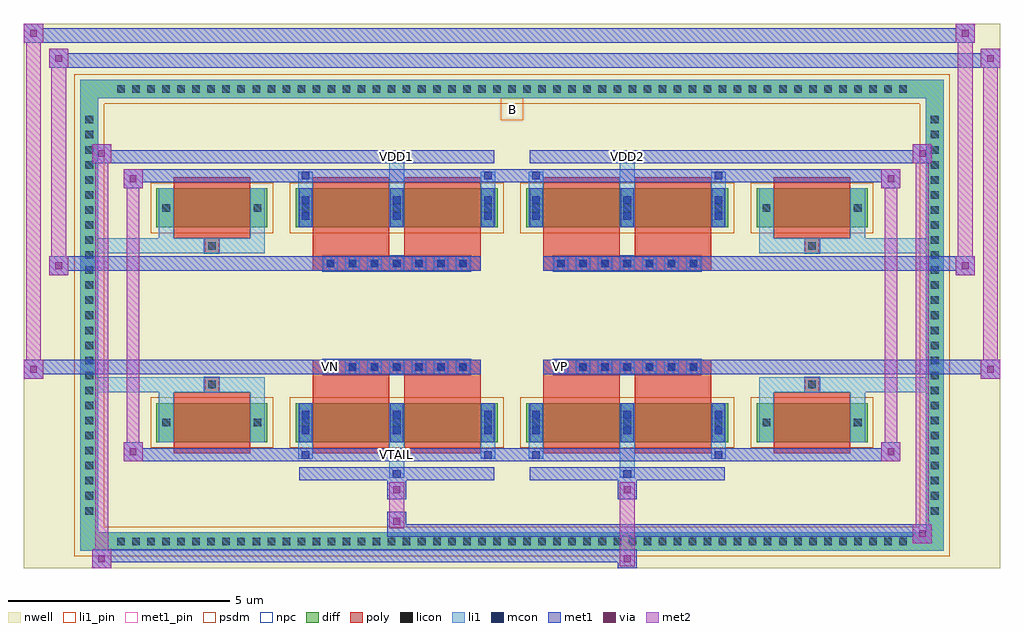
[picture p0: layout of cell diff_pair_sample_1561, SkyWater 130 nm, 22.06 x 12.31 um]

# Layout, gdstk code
import gdstk
lib = gdstk.Library(unit=1e-6, precision=5e-09)
def R(c, l, rs):  # rectangles x0, y0, x1, y1
    for r in rs: c.add(gdstk.rectangle(r[:2], r[2:], *l))
def A(c, l, x, y, w, h, nx, ny, dx, dy):  # array of equal rectangles
    R(c, l, [(x+i*dx, y+j*dy, x+i*dx+w, y+j*dy+h) for i in range(nx) for j in range(ny)])
def P(c, l, *ps):  # polygons
    for p in ps: c.add(gdstk.Polygon(p, *l))
nwell = (64, 20)
diff = (65, 20)
poly = (66, 20)
licon = (66, 44)
li1_pin = (67, 16)
li1 = (67, 20)
mcon = (67, 44)
met1_pin = (68, 16)
met1 = (68, 20)
via = (68, 44)
met2 = (69, 20)
psdm = (94, 20)
npc = (95, 20)

diff_pair_sample_1561 = lib.new_cell('diff_pair_sample_1561')
R(diff_pair_sample_1561, nwell, [(-11.03,-5.72,11.03,6.59), (-8.35,-3.91,-0.01,-0.805), (0.01,-3.91,8.35,-0.805), (-8.35,0.805,-0.01,3.91), (0.01,0.805,8.35,3.91)])
A(diff_pair_sample_1561, diff, -9.045, -5.32, 0.41, 0.41, 53, 2, 0.34, 10.23)
A(diff_pair_sample_1561, diff, -9.76, -4.625, 0.41, 0.41, 1, 27, 0, 0.34)
A(diff_pair_sample_1561, diff, 9.35, -4.625, 0.41, 0.41, 1, 27, 0, 0.34)
R(diff_pair_sample_1561, diff, [(-9.045,-5.32,9.045,-4.91), (-9.76,-4.625,-9.35,4.625), (9.35,-4.625,9.76,4.625), (-8.04,-2.865,-5.53,-1.985), (-4.89,-2.865,-0.32,-1.985), (0.32,-2.865,4.89,-1.985), (5.53,-2.865,8.04,-1.985), (-8.04,1.985,-5.53,2.865), (-4.89,1.985,-0.32,2.865), (0.32,1.985,4.89,2.865), (5.53,1.985,8.04,2.865), (-9.045,4.91,9.045,5.32)])
P(diff_pair_sample_1561, diff, [(9.76,5.32),(-9.76,5.32),(-9.76,-4.91),(-9.35,-4.91),(-9.35,4.91),(9.35,4.91),(9.35,-4.91),(-9.35,-4.91),(-9.76,-4.91),(-9.76,-5.32),(9.76,-5.32)])
A(diff_pair_sample_1561, poly, -4.27, -1.335, 0.33, 0.33, 7, 2, 0.5, 2.34)
A(diff_pair_sample_1561, poly, 0.94, -1.335, 0.33, 0.33, 7, 2, 0.5, 2.34)
R(diff_pair_sample_1561, poly, [(-7.65,-3.115,-5.92,-1.735), (-4.5,-3.115,-2.77,-1.735), (-2.44,-3.115,-0.71,-1.735), (0.71,-3.115,2.44,-1.735), (2.77,-3.115,4.5,-1.735), (5.92,-3.115,7.65,-1.735), (-6.95,-1.735,-6.62,-1.405), (-6.95,-1.735,-6.62,-1.405), (-4.5,-1.735,-2.77,-1.335), (-2.44,-1.735,-0.71,-1.335), (0.71,-1.735,2.44,-1.335), (2.77,-1.735,4.5,-1.335), (6.62,-1.735,6.95,-1.405), (6.62,-1.735,6.95,-1.405), (-4.5,-1.335,-0.71,-1.005), (0.71,-1.335,4.5,-1.005), (-4.5,1.005,-0.71,1.335), (0.71,1.005,4.5,1.335), (-4.5,1.335,-2.77,1.735), (-2.44,1.335,-0.71,1.735), (0.71,1.335,2.44,1.735), (2.77,1.335,4.5,1.735), (-6.95,1.405,-6.62,1.735), (-6.95,1.405,-6.62,1.735), (6.62,1.405,6.95,1.735), (6.62,1.405,6.95,1.735), (-7.65,1.735,-5.92,3.115), (-4.5,1.735,-2.77,3.115), (-2.44,1.735,-0.71,3.115), (0.71,1.735,2.44,3.115), (2.77,1.735,4.5,3.115), (5.92,1.735,7.65,3.115)])
A(diff_pair_sample_1561, licon, -8.925, -5.2, 0.17, 0.17, 53, 2, 0.34, 10.23)
A(diff_pair_sample_1561, licon, -9.64, -4.505, 0.17, 0.17, 1, 27, 0, 0.34)
A(diff_pair_sample_1561, licon, 9.47, -4.505, 0.17, 0.17, 1, 27, 0, 0.34)
A(diff_pair_sample_1561, licon, -4.75, -2.51, 0.17, 0.17, 3, 2, 2.06, 4.85)
A(diff_pair_sample_1561, licon, 0.46, -2.51, 0.17, 0.17, 3, 2, 2.06, 4.85)
A(diff_pair_sample_1561, licon, -4.19, -1.255, 0.17, 0.17, 7, 2, 0.5, 2.34)
A(diff_pair_sample_1561, licon, 1.02, -1.255, 0.17, 0.17, 7, 2, 0.5, 2.34)
R(diff_pair_sample_1561, licon, [(-7.9,-2.51,-7.73,-2.34), (-5.84,-2.51,-5.67,-2.34), (5.67,-2.51,5.84,-2.34), (7.73,-2.51,7.9,-2.34), (-6.87,-1.655,-6.7,-1.485), (6.7,-1.655,6.87,-1.485), (-6.87,1.485,-6.7,1.655), (6.7,1.485,6.87,1.655), (-7.9,2.34,-7.73,2.51), (-5.84,2.34,-5.67,2.51), (5.67,2.34,5.84,2.51), (7.73,2.34,7.9,2.51)])
R(diff_pair_sample_1561, li1_pin, [(-0.25,4.41,0.25,4.91)])
A(diff_pair_sample_1561, li1, -9.005, -5.28, 0.33, 0.33, 53, 2, 0.34, 10.23)
A(diff_pair_sample_1561, li1, -9.72, -4.585, 0.33, 0.33, 1, 27, 0, 0.34)
A(diff_pair_sample_1561, li1, 9.39, -4.585, 0.33, 0.33, 1, 27, 0, 0.34)
A(diff_pair_sample_1561, li1, -4.83, -2.865, 0.33, 0.88, 3, 2, 2.06, 4.85)
A(diff_pair_sample_1561, li1, 0.38, -2.865, 0.33, 0.88, 3, 2, 2.06, 4.85)
A(diff_pair_sample_1561, li1, -4.75, -2.69, 0.17, 0.17, 3, 2, 2.06, 0.36)
A(diff_pair_sample_1561, li1, -4.75, -2.69, 0.17, 0.53, 3, 2, 2.06, 4.85)
A(diff_pair_sample_1561, li1, 0.46, -2.69, 0.17, 0.17, 3, 2, 2.06, 0.36)
A(diff_pair_sample_1561, li1, 0.46, -2.69, 0.17, 0.53, 3, 2, 2.06, 4.85)
A(diff_pair_sample_1561, li1, -4.83, -2.59, 0.33, 0.33, 3, 2, 2.06, 4.85)
A(diff_pair_sample_1561, li1, 0.38, -2.59, 0.33, 0.33, 3, 2, 2.06, 4.85)
A(diff_pair_sample_1561, li1, -4.27, -1.335, 0.33, 0.33, 7, 2, 0.5, 2.34)
A(diff_pair_sample_1561, li1, 0.94, -1.335, 0.33, 0.33, 7, 2, 0.5, 2.34)
A(diff_pair_sample_1561, li1, -4.75, 2.16, 0.17, 0.17, 3, 2, 2.06, 0.36)
A(diff_pair_sample_1561, li1, 0.46, 2.16, 0.17, 0.17, 3, 2, 2.06, 0.36)
R(diff_pair_sample_1561, li1, [(-9.76,-5.32,-9.35,-4.91), (-9.76,-5.32,-9.35,-4.91), (-9.35,-5.32,9.35,-4.91), (9.35,-5.32,9.76,-4.91), (9.35,-5.32,9.76,-4.91), (-9.76,-4.91,-9.35,4.91), (9.35,-4.91,9.76,4.91), (-2.77,-3.67,-2.44,-2.865), (-2.69,-3.67,-2.52,-3.5), (2.44,-3.67,2.77,-2.865), (2.52,-3.67,2.69,-3.5), (-4.83,-3.24,-4.5,-2.865), (-4.75,-3.24,-4.58,-3.07), (-0.71,-3.24,-0.38,-2.865), (-0.63,-3.24,-0.46,-3.07), (0.38,-3.24,0.71,-2.865), (0.46,-3.24,0.63,-3.07), (4.5,-3.24,4.83,-2.865), (4.58,-3.24,4.75,-3.07), (-7.98,-2.865,-7.65,-1.985), (-5.92,-2.865,-5.59,-1.985), (5.59,-2.865,5.92,-1.985), (7.65,-2.865,7.98,-1.985), (-7.98,-2.59,-7.65,-2.26), (-5.92,-2.59,-5.59,-2.26), (5.59,-2.59,5.92,-2.26), (7.65,-2.59,7.98,-2.26), (-7.98,-1.985,-7.65,-1.405), (-5.92,-1.985,-5.59,-1.405), (5.59,-1.985,5.92,-1.405), (7.65,-1.985,7.98,-1.405), (-9.76,-1.735,-6.95,-1.405), (-7.98,-1.735,-6.95,-1.405), (-6.95,-1.735,-6.62,-1.405), (-6.62,-1.735,-5.59,-1.405), (5.59,-1.735,6.62,-1.405), (6.62,-1.735,6.95,-1.405), (6.62,-1.735,9.76,-1.405), (6.95,-1.735,7.98,-1.405), (-9.76,1.405,-6.95,1.735), (-7.98,1.405,-6.95,1.735), (-7.98,1.405,-7.65,1.985), (-6.95,1.405,-6.62,1.735), (-6.62,1.405,-5.59,1.735), (-5.92,1.405,-5.59,1.985), (5.59,1.405,6.62,1.735), (5.59,1.405,5.92,1.985), (6.62,1.405,6.95,1.735), (6.62,1.405,9.76,1.735), (6.95,1.405,7.98,1.735), (7.65,1.405,7.98,1.985), (-7.98,1.985,-7.65,2.865), (-5.92,1.985,-5.59,2.865), (5.59,1.985,5.92,2.865), (7.65,1.985,7.98,2.865), (-7.98,2.26,-7.65,2.59), (-5.92,2.26,-5.59,2.59), (5.59,2.26,5.92,2.59), (7.65,2.26,7.98,2.59), (-4.83,2.865,-4.5,3.24), (-2.77,2.865,-2.44,3.67), (-0.71,2.865,-0.38,3.24), (0.38,2.865,0.71,3.24), (2.44,2.865,2.77,3.67), (4.5,2.865,4.83,3.24), (-4.75,3.07,-4.58,3.24), (-0.63,3.07,-0.46,3.24), (0.46,3.07,0.63,3.24), (4.58,3.07,4.75,3.24), (-2.69,3.5,-2.52,3.67), (2.52,3.5,2.69,3.67), (-9.76,4.91,-9.35,5.32), (-9.76,4.91,-9.35,5.32), (-9.35,4.91,9.35,5.32), (9.35,4.91,9.76,5.32), (9.35,4.91,9.76,5.32)])
A(diff_pair_sample_1561, mcon, -4.75, -2.69, 0.17, 0.17, 3, 2, 2.06, 0.36)
A(diff_pair_sample_1561, mcon, 0.46, -2.69, 0.17, 0.17, 3, 2, 2.06, 0.36)
A(diff_pair_sample_1561, mcon, -4.19, -1.255, 0.17, 0.17, 7, 2, 0.5, 2.34)
A(diff_pair_sample_1561, mcon, 1.02, -1.255, 0.17, 0.17, 7, 2, 0.5, 2.34)
A(diff_pair_sample_1561, mcon, -4.75, 2.16, 0.17, 0.17, 3, 2, 2.06, 0.36)
A(diff_pair_sample_1561, mcon, 0.46, 2.16, 0.17, 0.17, 3, 2, 2.06, 0.36)
R(diff_pair_sample_1561, mcon, [(-2.69,-3.67,-2.52,-3.5), (2.52,-3.67,2.69,-3.5), (-4.75,-3.24,-4.58,-3.07), (-0.63,-3.24,-0.46,-3.07), (0.46,-3.24,0.63,-3.07), (4.58,-3.24,4.75,-3.07), (-4.75,3.07,-4.58,3.24), (-0.63,3.07,-0.46,3.24), (0.46,3.07,0.63,3.24), (4.58,3.07,4.75,3.24), (-2.69,3.5,-2.52,3.67), (2.52,3.5,2.69,3.67)])
R(diff_pair_sample_1561, met1_pin, [(-2.74,-3.28,-2.47,-3.01), (-4.24,-1.295,-3.97,-1.025), (0.97,-1.295,1.24,-1.025), (-2.74,3.46,-2.47,3.73), (2.47,3.46,2.74,3.73)])
A(diff_pair_sample_1561, met1, -4.81, -2.865, 0.29, 0.88, 3, 2, 2.06, 4.85)
A(diff_pair_sample_1561, met1, 0.4, -2.865, 0.29, 0.88, 3, 2, 2.06, 4.85)
A(diff_pair_sample_1561, met1, -4.81, -2.75, 0.29, 0.29, 3, 2, 2.06, 0.36)
A(diff_pair_sample_1561, met1, 0.4, -2.75, 0.29, 0.29, 3, 2, 2.06, 0.36)
A(diff_pair_sample_1561, met1, -4.25, -1.315, 0.29, 0.29, 7, 2, 0.5, 2.34)
A(diff_pair_sample_1561, met1, 0.96, -1.315, 0.29, 0.29, 7, 2, 0.5, 2.34)
A(diff_pair_sample_1561, met1, -4.81, 2.1, 0.29, 0.29, 3, 2, 2.06, 0.36)
A(diff_pair_sample_1561, met1, 0.4, 2.1, 0.29, 0.29, 3, 2, 2.06, 0.36)
R(diff_pair_sample_1561, met1, [(-9.49,-5.72,-9.06,-5.29), (2.39,-5.72,2.82,-5.29), (-9.49,-5.58,2.82,-5.29), (9.06,-5.15,9.49,-4.72), (-2.82,-5.01,9.49,-4.72), (-2.82,-4.87,-2.39,-4.44), (-2.82,-4.16,-2.39,-3.73), (2.39,-4.16,2.82,-3.73), (-4.81,-3.73,-0.4,-3.44), (-2.75,-3.73,-2.46,-3.44), (0.4,-3.73,4.81,-3.44), (2.46,-3.73,2.75,-3.44), (-8.78,-3.3,-8.35,-2.87), (-8.78,-3.3,-4.81,-3.01), (-4.81,-3.3,-4.52,-3.01), (-4.81,-3.3,-0.4,-3.01), (-0.69,-3.3,-0.4,-3.01), (-0.4,-3.3,0.4,-3.01), (0.4,-3.3,0.69,-3.01), (0.4,-3.3,4.81,-3.01), (4.52,-3.3,4.81,-3.01), (4.81,-3.3,8.78,-3.01), (8.35,-3.3,8.78,-2.87), (-11.03,-1.435,-10.6,-1.005), (10.6,-1.435,11.03,-1.005), (-11.03,-1.335,-0.71,-1.005), (-4.5,-1.335,-0.71,-1.005), (0.71,-1.335,4.5,-1.005), (0.71,-1.335,11.03,-1.005), (-10.46,0.905,-10.03,1.335), (10.03,0.905,10.46,1.335), (-10.46,1.005,-4.5,1.335), (-4.5,1.005,-0.71,1.335), (0.71,1.005,4.5,1.335), (4.5,1.005,10.46,1.335), (-8.78,2.87,-8.35,3.3), (8.35,2.87,8.78,3.3), (-8.78,3.01,-4.81,3.3), (-4.81,3.01,-4.52,3.3), (-4.81,3.01,-0.4,3.3), (-0.69,3.01,-0.4,3.3), (-0.4,3.01,0.4,3.3), (0.4,3.01,0.69,3.3), (0.4,3.01,4.81,3.3), (4.52,3.01,4.81,3.3), (4.81,3.01,8.78,3.3), (-9.49,3.44,-9.06,3.87), (-9.49,3.44,-4.81,3.73), (-4.81,3.44,-0.4,3.73), (-2.75,3.44,-2.46,3.73), (0.4,3.44,4.81,3.73), (2.46,3.44,2.75,3.73), (4.81,3.44,9.49,3.73), (9.06,3.44,9.49,3.87), (-10.46,5.59,-10.03,6.02), (-10.46,5.59,-8.35,5.92), (-8.35,5.59,8.35,5.92), (8.35,5.59,11.03,5.92), (10.6,5.59,11.03,6.02), (-11.03,6.16,-10.6,6.59), (-11.03,6.16,-8.35,6.49), (-8.35,6.16,8.35,6.49), (8.35,6.16,10.46,6.49), (10.03,6.16,10.46,6.59)])
R(diff_pair_sample_1561, via, [(-9.35,-5.58,-9.2,-5.43), (2.53,-5.58,2.68,-5.43), (9.2,-5.01,9.35,-4.86), (-2.68,-4.73,-2.53,-4.58), (-2.68,-4.02,-2.53,-3.87), (2.53,-4.02,2.68,-3.87), (-8.64,-3.16,-8.49,-3.01), (8.49,-3.16,8.64,-3.01), (-10.89,-1.295,-10.74,-1.145), (10.74,-1.295,10.89,-1.145), (-10.32,1.045,-10.17,1.195), (10.17,1.045,10.32,1.195), (-8.64,3.01,-8.49,3.16), (8.49,3.01,8.64,3.16), (-9.35,3.58,-9.2,3.73), (9.2,3.58,9.35,3.73), (-10.32,5.73,-10.17,5.88), (10.74,5.73,10.89,5.88), (-10.89,6.3,-10.74,6.45), (10.17,6.3,10.32,6.45)])
R(diff_pair_sample_1561, met2, [(-9.49,-5.72,-9.06,-5.29), (-9.42,-5.72,-9.13,3.87), (-9.13,-5.72,-9.06,-5.29), (-9.44,-5.67,-9.11,-5.34), (2.44,-5.67,2.77,-5.34), (2.44,-5.34,2.77,-4.11), (9.06,-5.15,9.49,-4.72), (9.13,-5.15,9.42,3.87), (9.42,-5.15,9.49,-4.72), (9.11,-5.1,9.44,-4.77), (-2.77,-4.82,-2.44,-4.49), (-2.77,-4.49,-2.44,-4.11), (-2.77,-4.11,-2.44,-3.78), (2.44,-4.11,2.77,-3.78), (-8.78,-3.3,-8.35,-2.87), (-8.71,-3.3,-8.42,3.3), (-8.42,-3.3,-8.35,-2.87), (8.35,-3.3,8.78,-2.87), (8.42,-3.3,8.71,3.3), (8.71,-3.3,8.78,-2.87), (-8.73,-3.25,-8.4,-2.92), (8.4,-3.25,8.73,-2.92), (-11.03,-1.435,-10.6,-1.005), (-10.98,-1.435,-10.65,6.59), (-10.65,-1.435,-10.6,-1.005), (10.6,-1.435,11.03,-1.005), (10.65,-1.435,10.98,6.02), (10.98,-1.435,11.03,-1.005), (-10.98,-1.385,-10.65,-1.055), (10.65,-1.385,10.98,-1.055), (-10.46,0.905,-10.03,1.335), (-10.41,0.905,-10.08,6.02), (-10.08,0.905,-10.03,1.335), (10.03,0.905,10.46,1.335), (10.08,0.905,10.41,6.59), (10.41,0.905,10.46,1.335), (-10.41,0.955,-10.08,1.285), (10.08,0.955,10.41,1.285), (-8.78,2.87,-8.35,3.3), (-8.42,2.87,-8.35,3.3), (8.35,2.87,8.78,3.3), (8.71,2.87,8.78,3.3), (-8.73,2.92,-8.4,3.25), (8.4,2.92,8.73,3.25), (-9.49,3.44,-9.06,3.87), (-9.13,3.44,-9.06,3.87), (9.06,3.44,9.49,3.87), (9.42,3.44,9.49,3.87), (-9.44,3.49,-9.11,3.82), (9.11,3.49,9.44,3.82), (-10.46,5.59,-10.03,6.02), (-10.08,5.59,-10.03,6.02), (10.6,5.59,11.03,6.02), (10.98,5.59,11.03,6.02), (-10.41,5.64,-10.08,5.97), (10.65,5.64,10.98,5.97), (-11.03,6.16,-10.6,6.59), (-10.65,6.16,-10.6,6.59), (10.03,6.16,10.46,6.59), (10.41,6.16,10.46,6.59), (-10.98,6.21,-10.65,6.54), (10.08,6.21,10.41,6.54)])
R(diff_pair_sample_1561, psdm, [(-8.17,-2.995,-5.4,-1.855), (-5.02,-2.995,-0.19,-1.855), (0.19,-2.995,5.02,-1.855), (5.4,-2.995,8.17,-1.855), (-8.17,1.855,-5.4,2.995), (-5.02,1.855,-0.19,2.995), (0.19,1.855,5.02,2.995), (5.4,1.855,8.17,2.995)])
P(diff_pair_sample_1561, psdm, [(9.89,5.45),(-9.89,5.45),(-9.89,-4.78),(-9.22,-4.78),(-9.22,4.78),(9.22,4.78),(9.22,-4.78),(-9.22,-4.78),(-9.89,-4.78),(-9.89,-5.45),(9.89,-5.45)])
A(diff_pair_sample_1561, npc, -4.29, -1.355, 0.37, 0.37, 7, 2, 0.5, 2.34)
A(diff_pair_sample_1561, npc, 0.92, -1.355, 0.37, 0.37, 7, 2, 0.5, 2.34)
R(diff_pair_sample_1561, npc, [(-6.97,-1.755,-6.6,-1.385), (6.6,-1.755,6.97,-1.385), (-4.29,-1.355,-3.42,-0.985), (-4.29,-1.355,-3.42,-0.985), (-3.79,-1.355,-2.92,-0.985), (-3.79,-1.355,-2.92,-0.985), (-3.29,-1.355,-2.42,-0.985), (-3.29,-1.355,-2.42,-0.985), (-2.79,-1.355,-1.92,-0.985), (-2.79,-1.355,-1.92,-0.985), (-2.29,-1.355,-1.42,-0.985), (-2.29,-1.355,-1.42,-0.985), (-1.79,-1.355,-0.92,-0.985), (-1.79,-1.355,-0.92,-0.985), (0.92,-1.355,1.79,-0.985), (0.92,-1.355,1.79,-0.985), (1.42,-1.355,2.29,-0.985), (1.42,-1.355,2.29,-0.985), (1.92,-1.355,2.79,-0.985), (1.92,-1.355,2.79,-0.985), (2.42,-1.355,3.29,-0.985), (2.42,-1.355,3.29,-0.985), (2.92,-1.355,3.79,-0.985), (2.92,-1.355,3.79,-0.985), (3.42,-1.355,4.29,-0.985), (3.42,-1.355,4.29,-0.985), (-4.29,0.985,-3.42,1.355), (-4.29,0.985,-3.42,1.355), (-3.79,0.985,-2.92,1.355), (-3.79,0.985,-2.92,1.355), (-3.29,0.985,-2.42,1.355), (-3.29,0.985,-2.42,1.355), (-2.79,0.985,-1.92,1.355), (-2.79,0.985,-1.92,1.355), (-2.29,0.985,-1.42,1.355), (-2.29,0.985,-1.42,1.355), (-1.79,0.985,-0.92,1.355), (-1.79,0.985,-0.92,1.355), (0.92,0.985,1.79,1.355), (0.92,0.985,1.79,1.355), (1.42,0.985,2.29,1.355), (1.42,0.985,2.29,1.355), (1.92,0.985,2.79,1.355), (1.92,0.985,2.79,1.355), (2.42,0.985,3.29,1.355), (2.42,0.985,3.29,1.355), (2.92,0.985,3.79,1.355), (2.92,0.985,3.79,1.355), (3.42,0.985,4.29,1.355), (3.42,0.985,4.29,1.355), (-6.97,1.385,-6.6,1.755), (6.6,1.385,6.97,1.755)])
diff_pair_sample_1561.add(gdstk.Label('VTAIL', (-2.605,-3.145), layer=68, texttype=5))
diff_pair_sample_1561.add(gdstk.Label('VN', (-4.105,-1.16), layer=68, texttype=5))
diff_pair_sample_1561.add(gdstk.Label('VP', (1.105,-1.16), layer=68, texttype=5))
diff_pair_sample_1561.add(gdstk.Label('B', (0,4.66), layer=67, texttype=5))
diff_pair_sample_1561.add(gdstk.Label('VDD2', (2.605,3.595), layer=68, texttype=5))
diff_pair_sample_1561.add(gdstk.Label('VDD1', (-2.605,3.595), layer=68, texttype=5))

lib.write_gds('diff_pair_sample_1561.gds')
